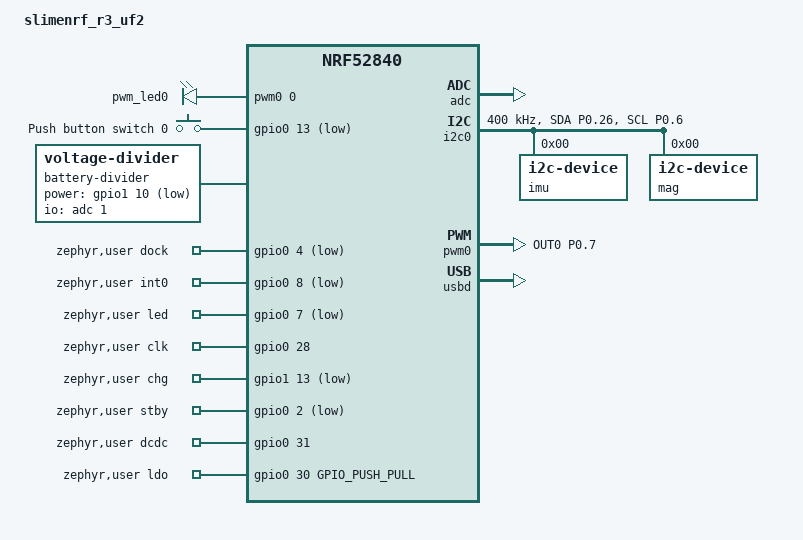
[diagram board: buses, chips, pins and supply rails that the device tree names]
// Copyright (c) 2024 Nordic Semiconductor ASA
// SPDX-License-Identifier: Apache-2.0

/dts-v1/;
#include <nordic/nrf52840_qiaa.dtsi>

//move to dtsi?
&pinctrl {
	i2c0_default: i2c0_default {
		group1 {
			psels = <NRF_PSEL(TWIM_SDA, 0, 26)>, <NRF_PSEL(TWIM_SCL, 0, 6)>;
			bias-disable;
		};
	};

	i2c0_sleep: i2c0_sleep {
		group1 {
			psels = <NRF_PSEL(TWIM_SDA, 0, 26)>, <NRF_PSEL(TWIM_SCL, 0, 6)>;
			bias-disable;
			low-power-enable;
		};
	};

	pwm0_default: pwm0_default {
		group1 {
			psels = <NRF_PSEL(PWM_OUT0, 0, 7)>;
		};
	};

	pwm0_sleep: pwm0_sleep {
		group1 {
			psels = <NRF_PSEL(PWM_OUT0, 0, 7)>;
			low-power-enable;
		};
	};
};
//end

/ {
	model = "slimenrf_r3_uf2";
	compatible = "slimenrf_r3_uf2";

	chosen {
		zephyr,sram = &sram0;
		zephyr,flash = &flash0;
		zephyr,code-partition = &slot0_partition;
		zephyr,console = &cdc_acm_uart0;
		zephyr,shell-uart = &cdc_acm_uart0;
	};

	pwmleds {
		compatible = "pwm-leds";
		pwm_led0: pwm_led_0 {
			pwms = <&pwm0 0 PWM_MSEC(1) PWM_POLARITY_INVERTED>;
		};
	};

	buttons {
		compatible = "gpio-keys";
		button0: button_0 {
			gpios = <&gpio0 13 (GPIO_PULL_UP | GPIO_ACTIVE_LOW)>;
			label = "Push button switch 0";
		};
	};

	aliases {
		sw0 = &button0;
	};

	battery-divider {
		compatible = "voltage-divider";
		status = "okay";
		io-channels = <&adc 1>;
		output-ohms = <510000>;
		full-ohms = <(1000000+510000)>;
		power-gpios = <&gpio1 10 (GPIO_OPEN_DRAIN|GPIO_ACTIVE_LOW)>;
	};

	zephyr,user {
		dock-gpios = <&gpio0 4 (GPIO_ACTIVE_LOW | GPIO_PULL_UP)>;
		int0-gpios = <&gpio0 8 (GPIO_ACTIVE_LOW | GPIO_PULL_UP)>;
		led-gpios = <&gpio0 7 (GPIO_OPEN_DRAIN|GPIO_ACTIVE_LOW)>;
		clk-gpios = <&gpio0 28 GPIO_OPEN_DRAIN>;
		chg-gpios = <&gpio1 13 (GPIO_ACTIVE_LOW | GPIO_PULL_UP)>;
		stby-gpios = <&gpio0 2 (GPIO_ACTIVE_LOW | GPIO_PULL_UP)>;
		dcdc-gpios = <&gpio0 31 GPIO_OPEN_DRAIN>;
		ldo-gpios = <&gpio0 30 GPIO_PUSH_PULL>;
	};

};

&flash0 {
	partitions {
		compatible = "fixed-partitions";
		#address-cells = <1>;
		#size-cells = <1>;

		boot_partition: partition@0 {
			label = "mcuboot";
			reg = <0x0 0xc000>;
		};
		slot0_partition: partition@c000 {
			label = "image-0";
			reg = <0xc000 0x72000>;
		};
		slot1_partition: partition@7e000 {
			label = "image-1";
			reg = <0x7e000 0x72000>;
		};
		scratch_partition: partition@f0000 {
			label = "image-scratch";
			reg = <0xf0000 0xa000>;
		};
		storage_partition: partition@fa000 {
			label = "storage";
			reg = <0xfa000 0x6000>;
		};
	};
};

&reg1 {
	regulator-initial-mode = <NRF5X_REG_MODE_DCDC>;
};

&adc {
	status = "okay";
};

&gpiote {
	status = "okay";
};

&gpio0 {
	status = "okay";
};

&gpio1 {
	status = "okay";
};

&i2c0 {
	compatible = "nordic,nrf-twim";
	status = "okay";
	zephyr,concat-buf-size = <255>; // probable max for nrf52832
	zephyr,flash-buf-max-size = <255>; // probable max for nrf52832
	clock-frequency = <I2C_BITRATE_FAST>;
	pinctrl-0 = <&i2c0_default>;
	pinctrl-1 = <&i2c0_sleep>;
	pinctrl-names = "default", "sleep";

	imu: imu@0 { // any address out of range (00, 7f, etc. will search all addresses and stored address first if available, specify an address here to search first otherwise
		compatible = "i2c-device";
		label = "imu";
		reg = <0>;
	};

	mag: mag@0 {
		compatible = "i2c-device";
		label = "mag";
		reg = <0>;
	};

};

&pwm0 {
	status = "okay";
	pinctrl-0 = <&pwm0_default>;
	pinctrl-1 = <&pwm0_sleep>;
	pinctrl-names = "default", "sleep";
};

zephyr_udc0: &usbd {
	compatible = "nordic,nrf-usbd";
	status = "okay";
	cdc_acm_uart0: cdc_acm_uart0 {
		compatible = "zephyr,cdc-acm-uart";
	};
};

&cryptocell {
	status = "disabled";
};

&nfct {
	status = "disabled";
};
